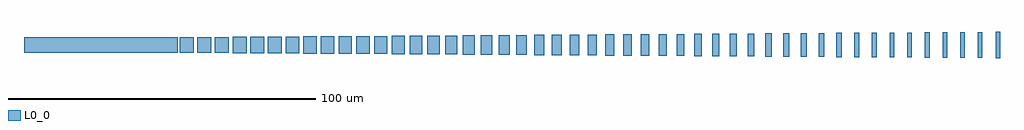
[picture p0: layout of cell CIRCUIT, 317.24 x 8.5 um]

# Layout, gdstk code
import gdstk
lib = gdstk.Library(unit=1e-6, precision=1e-09)
def R(c, l, rs):  # rectangles x0, y0, x1, y1
    for r in rs: c.add(gdstk.rectangle(r[:2], r[2:], *l))
L0_0 = (0, 0)

circuit = lib.new_cell('CIRCUIT')
R(circuit, L0_0, [(315.784,195.75,317.241,204.25), (310.051,195.788,311.511,204.212), (304.314,195.826,305.785,204.174), (298.574,195.864,300.063,204.136), (292.83,195.902,294.344,204.098), (287.082,195.94,288.629,204.06), (281.331,195.978,282.917,204.022), (275.576,196.016,277.209,203.984), (269.818,196.054,271.504,203.946), (264.058,196.092,265.802,203.908), (258.294,196.13,260.103,203.87), (252.527,196.168,254.406,203.832), (246.758,196.207,248.713,203.793), (240.986,196.245,243.022,203.755), (235.211,196.283,237.333,203.717), (229.435,196.321,231.647,203.679), (223.657,196.359,225.962,203.641), (217.877,196.397,220.279,203.603), (212.096,196.435,214.597,203.565), (206.313,196.473,208.917,203.527), (200.529,196.511,203.238,203.489), (194.745,196.549,197.559,203.451), (188.96,196.587,191.881,203.413), (183.175,196.625,186.203,203.375), (177.39,196.663,180.525,203.337), (171.605,196.701,174.847,203.299), (165.821,196.739,169.169,203.261), (160.037,196.777,163.489,203.223), (154.255,196.815,157.809,203.185), (148.473,196.853,152.128,203.147), (142.693,196.891,146.445,203.109), (136.915,196.929,140.76,203.071), (131.139,196.967,135.073,203.033), (125.365,197.005,129.385,202.995), (119.593,197.043,123.694,202.957), (113.823,197.082,118,202.918), (108.057,197.12,112.304,202.88), (102.293,197.158,106.605,202.842), (96.532,197.196,100.903,202.804), (90.774,197.234,95.198,202.766), (85.02,197.272,89.489,202.728), (79.269,197.31,83.777,202.69), (73.521,197.348,78.062,202.652), (67.777,197.386,72.343,202.614), (62.036,197.424,66.621,202.576), (56.299,197.462,60.895,202.538), (0,197.5,50,202.5), (50.566,197.5,55.166,202.5)])

lib.write_gds('CIRCUIT.gds')
